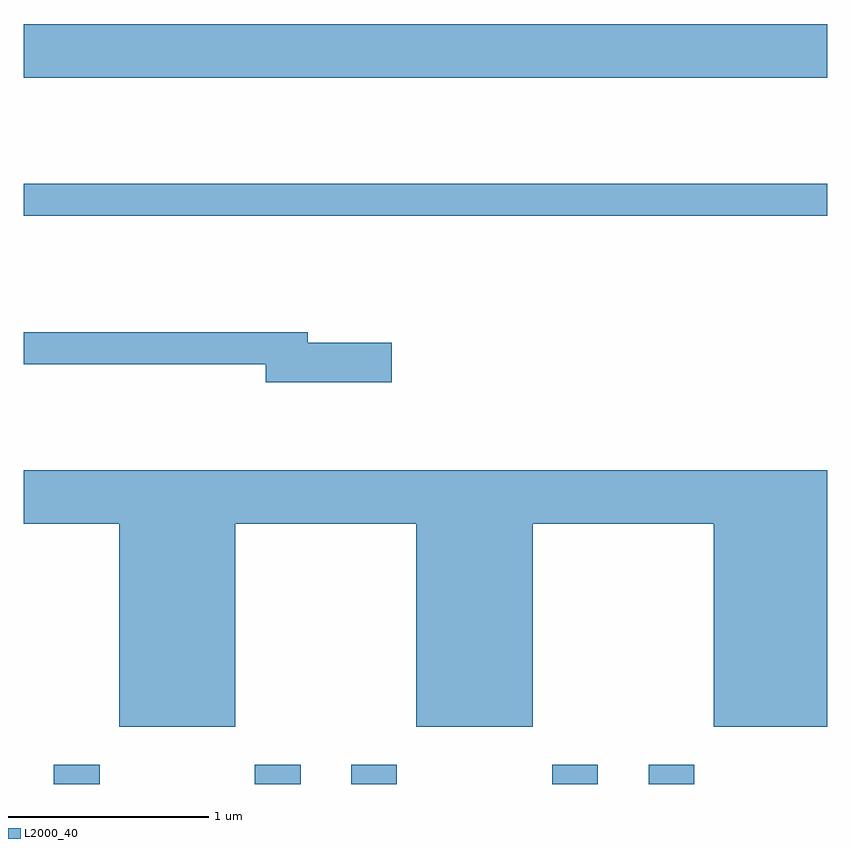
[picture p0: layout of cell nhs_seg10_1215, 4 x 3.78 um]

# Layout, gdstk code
import gdstk
lib = gdstk.Library(unit=1e-6, precision=1e-09)
def R(c, l, rs):  # rectangles x0, y0, x1, y1
    for r in rs: c.add(gdstk.rectangle(r[:2], r[2:], *l))
def P(c, l, *ps):  # polygons
    for p in ps: c.add(gdstk.Polygon(p, *l))
L2000_40 = (2000, 40)

nhs_seg10_1215 = lib.new_cell('nhs_seg10_1215')
R(nhs_seg10_1215, L2000_40, [(219.761,2212.522,219.989,2212.619), (220.761,2212.522,220.989,2212.619), (221.241,2212.522,221.469,2212.619), (222.241,2212.522,222.469,2212.619), (222.721,2212.522,222.949,2212.619), (219.611,2215.351,223.611,2215.509), (219.611,2216.036,223.611,2216.304)])
P(nhs_seg10_1215, L2000_40, [(221.444,2214.719),(221.024,2214.719),(221.024,2214.769),(219.611,2214.769),(219.611,2214.611),(220.816,2214.611),(220.816,2214.521),(221.444,2214.521)],
  [(220.664,2213.816),(221.566,2213.816),(221.566,2212.806),(222.144,2212.806),(222.144,2213.816),(223.046,2213.816),(223.046,2212.806),(223.611,2212.806),(223.611,2214.084),(219.611,2214.084),(219.611,2213.816),(220.086,2213.816),(220.086,2212.806),(220.664,2212.806)])

lib.write_gds('nhs_seg10_1215.gds')
